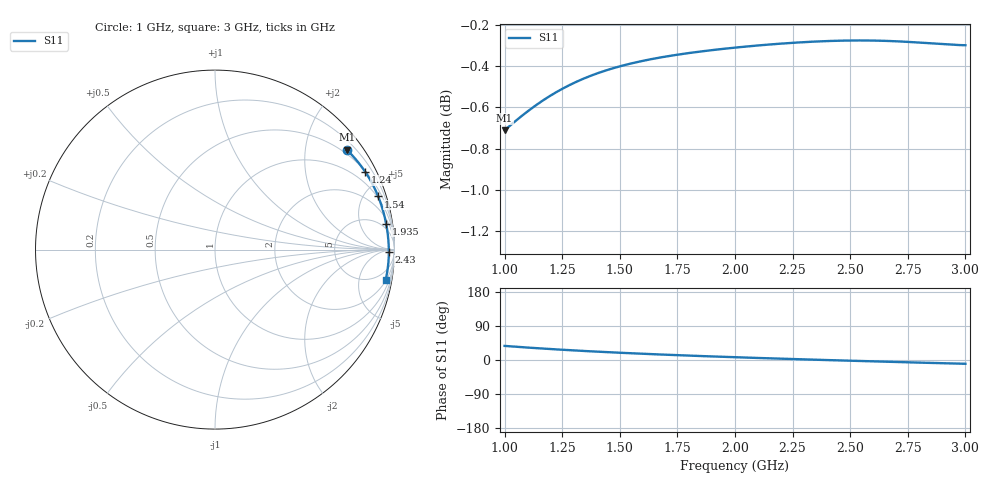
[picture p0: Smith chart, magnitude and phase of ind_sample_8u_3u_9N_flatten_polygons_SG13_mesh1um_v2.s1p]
#  Hz  S  RI  R  50
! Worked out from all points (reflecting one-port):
!   401 points, 1 GHz to 3 GHz, reference 50 ohm
!   lowest |S11| = -0.7 dB at 1 GHz (marker M1), VSWR 24.45, Z = 19.8 + j146 ohm
!   phase of S11 starts at 37 deg and turns -47 deg over the sweep
!   S11 on the Smith chart (normalised r, x): 1 GHz: 0.40, +2.92; 1.24 GHz: 0.52, +4.04; 1.54 GHz: 0.89, +6.18; 1.935 GHz: 3, +12; 2.43 GHz: 55, -21; 3 GHz: 2, -11
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1e9  0.734 0.5571
1.01e9  0.7393 0.5517
1.065e9  0.7667 0.5228
1.125e9  0.7935 0.4917
1.18e9  0.8154 0.4637
1.24e9  0.8366 0.4337
1.25e9  0.8399 0.4288
1.31e9  0.8582 0.3997
1.37e9  0.8742 0.3714
1.435e9  0.8892 0.3417
1.5e9  0.9022 0.3131
1.54e9  0.9093 0.2959
1.59e9  0.9173 0.2751
1.64e9  0.9245 0.2548
1.75e9  0.9376 0.212
1.84e9  0.946 0.1788
1.935e9  0.9532 0.1453
2e9  0.9572 0.1231
2.125e9  0.963 0.082
2.25e9  0.9667 0.0426
2.34e9  0.9682 0.0151
2.43e9  0.9687 -0.0118
2.5e9  0.9684 -0.0324
2.625e9  0.9664 -0.0683
2.75e9  0.9627 -0.1029
2.9e9  0.9564 -0.1426
2.99e9  0.9521 -0.1653
3e9  0.9517 -0.1678
